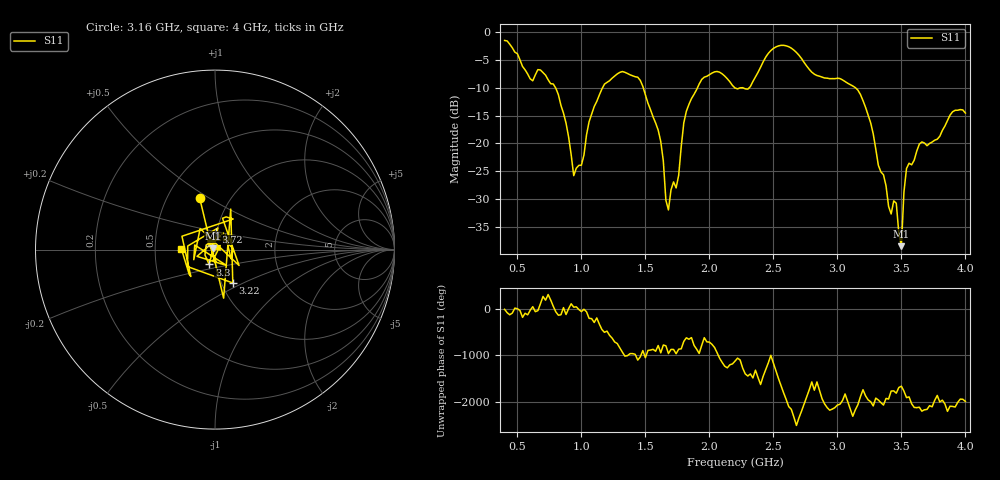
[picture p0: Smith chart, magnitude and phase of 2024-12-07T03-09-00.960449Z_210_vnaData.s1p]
!Created with skrf (http://scikit-rf.org).
# Hz S RI R 50.0
!freq ReS11 ImS11
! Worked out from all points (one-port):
!   181 points, 400 MHz to 4 GHz, reference 50 ohm
!   lowest |S11| = -38.4 dB at 3.5 GHz (marker M1), VSWR 1.02, Z = 49 + j0.71 ohm
!   |S11| at or under -10 dB: 797.6 MHz to 1.165 GHz (367.9 MHz wide, 37.5 % of centre); 1.483 GHz to 1.907 GHz (424 MHz wide, 25 % of centre); 3.141 GHz to end of sweep (the widest 3 of 5)
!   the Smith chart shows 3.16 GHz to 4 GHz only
!   S11 on the Smith chart (normalised r, x): 3.16 GHz: 0.72, +0.46; 3.22 GHz: 1.13, -0.44; 3.3 GHz: 0.93, -0.15; 3.72 GHz: 0.99, +0.20; 4 GHz: 0.68, +0.01
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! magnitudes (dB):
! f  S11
! 400 MHz  -1.5
! 600 MHz  -8.4
! 780 MHz  -9.3
! 860 MHz  -14.6
! 940 MHz  -25.8
! 1.16 GHz  -10.2
! 1.3 GHz  -7.3
! 1.48 GHz  -9.8
! 1.62 GHz  -19.7
! 1.68 GHz  -31.9
! 1.76 GHz  -25.7
! 1.82 GHz  -14.2
! 1.94 GHz  -8.5
! 2.2 GHz  -10.0
! 2.32 GHz  -9.8
! 2.5 GHz  -3.0
! 2.66 GHz  -3.3
! 3.1 GHz  -9.4
! 3.16 GHz  -10.4
! 3.22 GHz  -13.5
! 3.3 GHz  -21.0
! 3.42 GHz  -32.6
! 3.46 GHz  -30.7
! 3.5 GHz  -38.4
! 3.52 GHz  -28.7
! 3.56 GHz  -23.5
! 3.72 GHz  -20.0
! 4 GHz  -14.5
